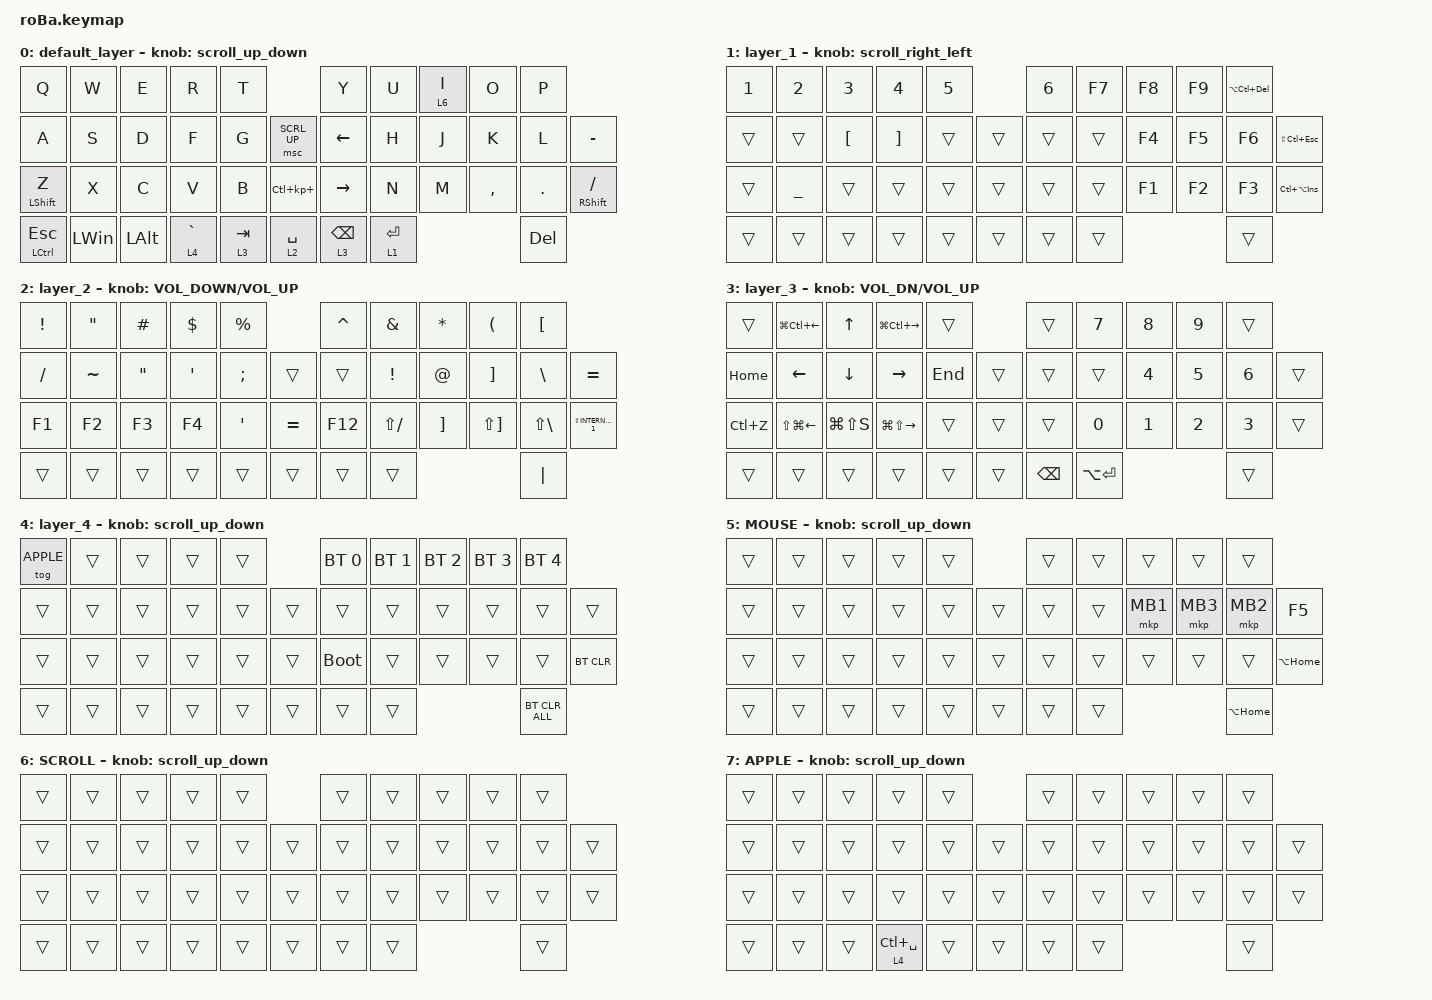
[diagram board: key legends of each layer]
#include <behaviors.dtsi>
#include <dt-bindings/zmk/bt.h>
#include <dt-bindings/zmk/keys.h>
#include <dt-bindings/zmk/pointing.h>

#define ZMK_POINTING_DEFAULT_SCRL_VAL 100
#define MOUSE 5
#define SCROLL 6
#define APPLE 7

&mt {
    flavor = "balanced";
    quick-tap-ms = <0>;
};

&lt {
    quick-tap-ms = <300>;
    flavor = "balanced";
};

&trackball {
    automouse-layer = <5>;
    scroll-layers = <6>;

    // arrows {
    //     layers = <3>;
    //     bindings =
    //         <&kp RIGHT_ARROW>,
    //         <&kp LEFT_ARROW>,
    //         <&kp UP_ARROW>,
    //         <&kp DOWN_ARROW>;
    //     tick = <10>;
    //     wait-ms = <5>;
    //     tap-ms = <5>;
    // };
};

/ {
    combos {
        compatible = "zmk,combos";

        layer4_ESC {
            bindings = <&lt 4 ESC>;
            key-positions = <40 39>;
        };

        tab {
            bindings = <&kp TAB>;
            key-positions = <11 12>;
        };
    };

    macros {
        to_layer_0: to_layer_0 {
            compatible = "zmk,behavior-macro-one-param";
            #binding-cells = <1>;
            bindings = <&to 0 &macro_param_1to1 &kp MACRO_PLACEHOLDER>;
            label = "TO_LAYER_0";
        };
    };

    behaviors {
        lt_to_layer_0: lt_to_layer_0 {
            compatible = "zmk,behavior-hold-tap";
            label = "LAYER_TAP_TO_0";
            bindings = <&mo>, <&to_layer_0>;

            #binding-cells = <2>;
            tapping-term-ms = <200>;
        };

        scroll_up_down: mouse_wheel_up_down {
            compatible = "zmk,behavior-sensor-rotate";
            #sensor-binding-cells = <0>;
            bindings = <&msc SCRL_DOWN>, <&msc SCRL_UP>;

            tap-ms = <20>;
        };

        scroll_right_left: mouse_wheel_right_left {
            compatible = "zmk,behavior-sensor-rotate";
            #sensor-binding-cells = <0>;
            bindings = <&msc SCRL_LEFT>, <&msc SCRL_RIGHT>;

            tap-ms = <20>;
        };
    };

    keymap {
        compatible = "zmk,keymap";

        default_layer {
            bindings = <
&kp Q             &kp W         &kp E     &kp R        &kp T                                                            &kp Y        &kp U  &lt 6 I    &kp O    &kp P
&kp A             &kp S         &kp D     &kp F        &kp G                                &msc SCRL_UP  &kp LEFT                    &kp H        &kp J  &kp K      &kp L    &kp MINUS
&mt LEFT_SHIFT Z  &kp X         &kp C     &kp V        &kp B      &kp LC(KP_PLUS)           &kp RIGHT                   &kp N        &kp M  &kp COMMA  &kp DOT  &mt RIGHT_SHIFT SLASH
&mt LCTRL ESCAPE  &kp LEFT_WIN  &kp LALT  &lt 4 GRAVE  &lt 3 TAB  &lt_to_layer_0 2 SPACE    &lt_to_layer_0 3 BACKSPACE  &lt 1 ENTER                             &kp DEL
            >;

            sensor-bindings = <&scroll_up_down>;
        };

        layer_1 {
            bindings = <
&kp NUMBER_1  &kp NUMBER_2    &kp NUMBER_3      &kp NUMBER_4       &kp NUMBER_5                    &kp NUMBER_6  &kp F7  &kp F8  &kp F9  &kp LA(LC(DELETE))
&trans        &trans          &kp LEFT_BRACKET  &kp RIGHT_BRACKET  &trans                  &trans  &trans  &trans        &kp F4  &kp F5  &kp F6  &kp LS(LC(ESCAPE))
&trans        &kp UNDERSCORE  &trans            &trans             &trans        &trans    &trans  &trans        &kp F1  &kp F2  &kp F3  &kp LC(LA(INSERT))
&trans        &trans          &trans            &trans             &trans        &trans    &trans  &trans                                &trans
            >;

            sensor-bindings = <&scroll_right_left>;
        };

        layer_2 {
            bindings = <
&kp EXCLAMATION  &kp DOUBLE_QUOTES  &kp POUND          &kp DOLLAR  &kp PERCENT                           &kp CARET      &kp AMPERSAND      &kp ASTERISK           &kp LEFT_PARENTHESIS  &kp LEFT_BRACKET
&kp SLASH        &kp TILDE          &kp DOUBLE_QUOTES  &kp SQT     &kp SEMI                     &trans  &trans   &kp EXCL       &kp AT             &kp RIGHT_BRACKET      &kp BACKSLASH         &kp EQUAL
&kp F1           &kp F2             &kp F3             &kp F4      &kp APOSTROPHE  &kp EQUAL    &kp F12  &kp LS(SLASH)  &kp RIGHT_BRACKET  &kp LS(RIGHT_BRACKET)  &kp LS(BACKSLASH)     &kp LS(INTERNATIONAL_1)
&trans           &trans             &trans             &trans      &trans          &trans       &trans   &trans                                                                         &kp PIPE
            >;

            sensor-bindings = <&inc_dec_kp C_VOLUME_DOWN C_VOLUME_UP>;
        };

        layer_3 {
            bindings = <
&trans     &kp LG(LC(LEFT))  &kp UP_ARROW    &kp LG(LC(RIGHT))        &trans                            &trans         &kp NUMBER_7  &kp NUMBER_8  &kp NUMBER_9  &trans
&kp HOME   &kp LEFT_ARROW    &kp DOWN_ARROW  &kp RIGHT                &kp END            &trans  &trans         &trans         &kp NUMBER_4  &kp NUMBER_5  &kp NUMBER_6  &trans
&kp LC(Z)  &kp LS(LG(LEFT))  &kp LG(LS(S))   &kp LG(LS(RIGHT_ARROW))  &trans   &trans    &trans         &kp NUMBER_0   &kp NUMBER_1  &kp NUMBER_2  &kp NUMBER_3  &trans
&trans     &trans            &trans          &trans                   &trans   &trans    &kp BACKSPACE  &kp LA(ENTER)                                            &trans
            >;

            sensor-bindings = <&inc_dec_kp C_VOL_DN C_VOL_UP>;
        };

        layer_4 {
            bindings = <
&tog APPLE  &trans  &trans  &trans  &trans                         &bt BT_SEL 0  &bt BT_SEL 1  &bt BT_SEL 2  &bt BT_SEL 3  &bt BT_SEL 4
&trans      &trans  &trans  &trans  &trans            &trans  &trans       &trans        &trans        &trans        &trans        &trans
&trans      &trans  &trans  &trans  &trans  &trans    &bootloader  &trans        &trans        &trans        &trans        &bt BT_CLR
&trans      &trans  &trans  &trans  &trans  &trans    &trans       &trans                                                  &bt BT_CLR_ALL
            >;

            sensor-bindings = <&scroll_up_down>;
        };

        MOUSE {
            bindings = <
&trans  &trans  &trans  &trans  &trans                    &trans  &trans    &trans    &trans    &trans
&trans  &trans  &trans  &trans  &trans            &trans  &trans  &trans  &mkp MB1  &mkp MB3  &mkp MB2  &kp F5
&trans  &trans  &trans  &trans  &trans  &trans    &trans  &trans  &trans    &trans    &trans    &kp LA(HOME)
&trans  &trans  &trans  &trans  &trans  &trans    &trans  &trans                                &kp LA(HOME)
            >;

            sensor-bindings = <&scroll_up_down>;
        };

        SCROLL {
            bindings = <
&trans  &trans  &trans  &trans  &trans                    &trans  &trans  &trans  &trans  &trans
&trans  &trans  &trans  &trans  &trans            &trans  &trans  &trans  &trans  &trans  &trans  &trans
&trans  &trans  &trans  &trans  &trans  &trans    &trans  &trans  &trans  &trans  &trans  &trans
&trans  &trans  &trans  &trans  &trans  &trans    &trans  &trans                          &trans
            >;

            sensor-bindings = <&scroll_up_down>;
        };

        APPLE {
            bindings = <
&trans  &trans  &trans  &trans  &trans                    &trans  &trans  &trans  &trans  &trans
&trans  &trans  &trans  &trans  &trans            &trans  &trans  &trans  &trans  &trans  &trans  &trans
&trans  &trans  &trans  &trans  &trans  &trans    &trans  &trans  &trans  &trans  &trans  &trans
&trans  &trans  &trans  &lt 4 LC(SPACE)  &trans  &trans    &trans  &trans                                &trans
            >;

            sensor-bindings = <&scroll_up_down>;
        };
    };
};
